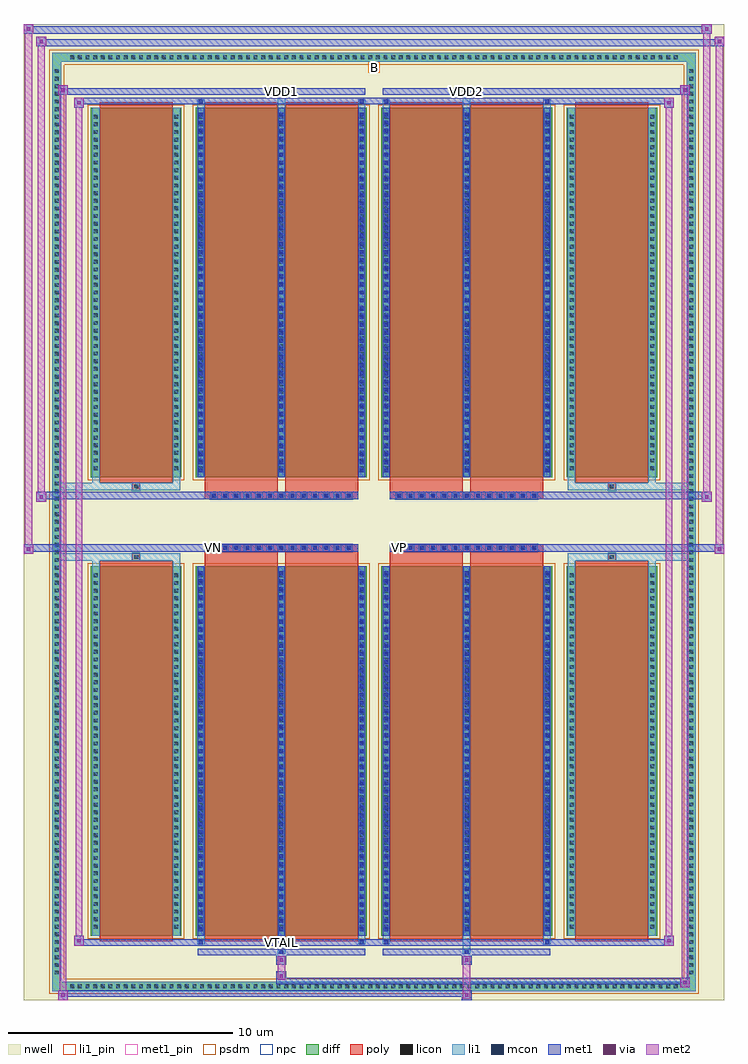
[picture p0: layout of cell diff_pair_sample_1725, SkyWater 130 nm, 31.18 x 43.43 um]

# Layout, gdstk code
import gdstk
lib = gdstk.Library(unit=1e-6, precision=5e-09)
def R(c, l, rs):  # rectangles x0, y0, x1, y1
    for r in rs: c.add(gdstk.rectangle(r[:2], r[2:], *l))
def A(c, l, x, y, w, h, nx, ny, dx, dy):  # array of equal rectangles
    R(c, l, [(x+i*dx, y+j*dy, x+i*dx+w, y+j*dy+h) for i in range(nx) for j in range(ny)])
def P(c, l, *ps):  # polygons
    for p in ps: c.add(gdstk.Polygon(p, *l))
nwell = (64, 20)
diff = (65, 20)
poly = (66, 20)
licon = (66, 44)
li1_pin = (67, 16)
li1 = (67, 20)
mcon = (67, 44)
met1_pin = (68, 16)
met1 = (68, 20)
via = (68, 44)
met2 = (69, 20)
psdm = (94, 20)
npc = (95, 20)

diff_pair_sample_1725 = lib.new_cell('diff_pair_sample_1725')
R(diff_pair_sample_1725, nwell, [(-15.59,-21.28,15.59,22.15), (-12.91,-19.47,-0.01,-0.795), (0.01,-19.47,12.91,-0.795), (-12.91,0.795,-0.01,19.47), (0.01,0.795,12.91,19.47)])
A(diff_pair_sample_1725, diff, -13.635, -20.88, 0.41, 0.41, 80, 2, 0.34, 41.35)
A(diff_pair_sample_1725, diff, -14.32, -20.265, 0.41, 0.41, 1, 119, 0, 0.34)
A(diff_pair_sample_1725, diff, 13.91, -20.265, 0.41, 0.41, 1, 119, 0, 0.34)
R(diff_pair_sample_1725, diff, [(-13.635,-20.88,13.635,-20.47), (-14.32,-20.265,-13.91,20.265), (13.91,-20.265,14.32,20.265), (-12.6,-18.425,-8.57,-1.985), (-7.93,-18.425,-0.32,-1.985), (0.32,-18.425,7.93,-1.985), (8.57,-18.425,12.6,-1.985), (-12.6,1.985,-8.57,18.425), (-7.93,1.985,-0.32,18.425), (0.32,1.985,7.93,18.425), (8.57,1.985,12.6,18.425), (-13.635,20.47,13.635,20.88)])
P(diff_pair_sample_1725, diff, [(14.32,20.88),(-14.32,20.88),(-14.32,-20.47),(-13.91,-20.47),(-13.91,20.47),(13.91,20.47),(13.91,-20.47),(-13.91,-20.47),(-14.32,-20.47),(-14.32,-20.88),(14.32,-20.88)])
A(diff_pair_sample_1725, poly, -7.29, -1.325, 0.33, 0.33, 13, 2, 0.5, 2.32)
A(diff_pair_sample_1725, poly, 0.96, -1.325, 0.33, 0.33, 13, 2, 0.5, 2.32)
R(diff_pair_sample_1725, poly, [(-12.21,-18.675,-8.96,-1.735), (-7.54,-18.675,-4.29,-1.735), (-3.96,-18.675,-0.71,-1.735), (0.71,-18.675,3.96,-1.735), (4.29,-18.675,7.54,-1.735), (8.96,-18.675,12.21,-1.735), (-10.75,-1.735,-10.42,-1.405), (-10.75,-1.735,-10.42,-1.405), (-7.54,-1.735,-4.29,-1.325), (-3.96,-1.735,-0.71,-1.325), (0.71,-1.735,3.96,-1.325), (4.29,-1.735,7.54,-1.325), (10.42,-1.735,10.75,-1.405), (10.42,-1.735,10.75,-1.405), (-7.54,-1.325,-0.71,-0.995), (0.71,-1.325,7.54,-0.995), (-7.54,0.995,-0.71,1.325), (0.71,0.995,7.54,1.325), (-7.54,1.325,-4.29,1.735), (-3.96,1.325,-0.71,1.735), (0.71,1.325,3.96,1.735), (4.29,1.325,7.54,1.735), (-10.75,1.405,-10.42,1.735), (-10.75,1.405,-10.42,1.735), (10.42,1.405,10.75,1.735), (10.42,1.405,10.75,1.735), (-12.21,1.735,-8.96,18.675), (-7.54,1.735,-4.29,18.675), (-3.96,1.735,-0.71,18.675), (0.71,1.735,3.96,18.675), (4.29,1.735,7.54,18.675), (8.96,1.735,12.21,18.675)])
A(diff_pair_sample_1725, licon, -13.515, -20.76, 0.17, 0.17, 80, 2, 0.34, 41.35)
A(diff_pair_sample_1725, licon, -14.2, -20.145, 0.17, 0.17, 1, 119, 0, 0.34)
A(diff_pair_sample_1725, licon, 14.03, -20.145, 0.17, 0.17, 1, 119, 0, 0.34)
A(diff_pair_sample_1725, licon, -12.46, -18.11, 0.17, 0.17, 1, 47, 0, 0.34)
A(diff_pair_sample_1725, licon, -8.88, -18.11, 0.17, 0.17, 1, 47, 0, 0.34)
A(diff_pair_sample_1725, licon, -7.79, -18.11, 0.17, 0.17, 3, 47, 3.58, 0.34)
A(diff_pair_sample_1725, licon, 0.46, -18.11, 0.17, 0.17, 3, 47, 3.58, 0.34)
A(diff_pair_sample_1725, licon, 8.71, -18.11, 0.17, 0.17, 1, 47, 0, 0.34)
A(diff_pair_sample_1725, licon, 12.29, -18.11, 0.17, 0.17, 1, 47, 0, 0.34)
A(diff_pair_sample_1725, licon, -7.21, -1.245, 0.17, 0.17, 13, 2, 0.5, 2.32)
A(diff_pair_sample_1725, licon, 1.04, -1.245, 0.17, 0.17, 13, 2, 0.5, 2.32)
A(diff_pair_sample_1725, licon, -12.46, 2.3, 0.17, 0.17, 1, 47, 0, 0.34)
A(diff_pair_sample_1725, licon, -8.88, 2.3, 0.17, 0.17, 1, 47, 0, 0.34)
A(diff_pair_sample_1725, licon, -7.79, 2.3, 0.17, 0.17, 3, 47, 3.58, 0.34)
A(diff_pair_sample_1725, licon, 0.46, 2.3, 0.17, 0.17, 3, 47, 3.58, 0.34)
A(diff_pair_sample_1725, licon, 8.71, 2.3, 0.17, 0.17, 1, 47, 0, 0.34)
A(diff_pair_sample_1725, licon, 12.29, 2.3, 0.17, 0.17, 1, 47, 0, 0.34)
R(diff_pair_sample_1725, licon, [(-10.67,-1.655,-10.5,-1.485), (10.5,-1.655,10.67,-1.485), (-10.67,1.485,-10.5,1.655), (10.5,1.485,10.67,1.655)])
R(diff_pair_sample_1725, li1_pin, [(-0.25,19.97,0.25,20.47)])
A(diff_pair_sample_1725, li1, -13.595, -20.84, 0.33, 0.33, 80, 2, 0.34, 41.35)
A(diff_pair_sample_1725, li1, -14.28, -20.225, 0.33, 0.33, 1, 119, 0, 0.34)
A(diff_pair_sample_1725, li1, 13.95, -20.225, 0.33, 0.33, 1, 119, 0, 0.34)
A(diff_pair_sample_1725, li1, -7.87, -18.425, 0.33, 16.44, 3, 2, 3.58, 20.41)
A(diff_pair_sample_1725, li1, 0.38, -18.425, 0.33, 16.44, 3, 2, 3.58, 20.41)
A(diff_pair_sample_1725, li1, -7.79, -18.21, 0.17, 0.17, 3, 45, 3.58, 0.36)
A(diff_pair_sample_1725, li1, -7.79, -18.21, 0.17, 16.01, 3, 2, 3.58, 20.41)
A(diff_pair_sample_1725, li1, 0.46, -18.21, 0.17, 0.17, 3, 45, 3.58, 0.36)
A(diff_pair_sample_1725, li1, 0.46, -18.21, 0.17, 16.01, 3, 2, 3.58, 20.41)
A(diff_pair_sample_1725, li1, -12.54, -18.19, 0.33, 0.33, 1, 47, 0, 0.34)
A(diff_pair_sample_1725, li1, -8.96, -18.19, 0.33, 0.33, 1, 47, 0, 0.34)
A(diff_pair_sample_1725, li1, -7.87, -18.19, 0.33, 0.33, 3, 47, 3.58, 0.34)
A(diff_pair_sample_1725, li1, 0.38, -18.19, 0.33, 0.33, 3, 47, 3.58, 0.34)
A(diff_pair_sample_1725, li1, 8.63, -18.19, 0.33, 0.33, 1, 47, 0, 0.34)
A(diff_pair_sample_1725, li1, 12.21, -18.19, 0.33, 0.33, 1, 47, 0, 0.34)
A(diff_pair_sample_1725, li1, -7.29, -1.325, 0.33, 0.33, 13, 2, 0.5, 2.32)
A(diff_pair_sample_1725, li1, 0.96, -1.325, 0.33, 0.33, 13, 2, 0.5, 2.32)
A(diff_pair_sample_1725, li1, -7.79, 2.2, 0.17, 0.17, 3, 45, 3.58, 0.36)
A(diff_pair_sample_1725, li1, 0.46, 2.2, 0.17, 0.17, 3, 45, 3.58, 0.36)
A(diff_pair_sample_1725, li1, -12.54, 2.22, 0.33, 0.33, 1, 47, 0, 0.34)
A(diff_pair_sample_1725, li1, -8.96, 2.22, 0.33, 0.33, 1, 47, 0, 0.34)
A(diff_pair_sample_1725, li1, -7.87, 2.22, 0.33, 0.33, 3, 47, 3.58, 0.34)
A(diff_pair_sample_1725, li1, 0.38, 2.22, 0.33, 0.33, 3, 47, 3.58, 0.34)
A(diff_pair_sample_1725, li1, 8.63, 2.22, 0.33, 0.33, 1, 47, 0, 0.34)
A(diff_pair_sample_1725, li1, 12.21, 2.22, 0.33, 0.33, 1, 47, 0, 0.34)
R(diff_pair_sample_1725, li1, [(-14.32,-20.88,-13.91,-20.47), (-14.32,-20.88,-13.91,-20.47), (-13.91,-20.88,13.91,-20.47), (13.91,-20.88,14.32,-20.47), (13.91,-20.88,14.32,-20.47), (-14.32,-20.47,-13.91,20.47), (13.91,-20.47,14.32,20.47), (-4.29,-19.23,-3.96,-18.425), (-4.21,-19.23,-4.04,-19.06), (3.96,-19.23,4.29,-18.425), (4.04,-19.23,4.21,-19.06), (-7.87,-18.8,-7.54,-18.425), (-7.79,-18.8,-7.62,-18.63), (-0.71,-18.8,-0.38,-18.425), (-0.63,-18.8,-0.46,-18.63), (0.38,-18.8,0.71,-18.425), (0.46,-18.8,0.63,-18.63), (7.54,-18.8,7.87,-18.425), (7.62,-18.8,7.79,-18.63), (-12.54,-18.425,-12.21,-1.985), (-8.96,-18.425,-8.63,-1.985), (8.63,-18.425,8.96,-1.985), (12.21,-18.425,12.54,-1.985), (-12.54,-1.985,-12.21,-1.405), (-8.96,-1.985,-8.63,-1.405), (8.63,-1.985,8.96,-1.405), (12.21,-1.985,12.54,-1.405), (-14.32,-1.735,-10.75,-1.405), (-12.54,-1.735,-10.75,-1.405), (-10.75,-1.735,-10.42,-1.405), (-10.42,-1.735,-8.63,-1.405), (8.63,-1.735,10.42,-1.405), (10.42,-1.735,10.75,-1.405), (10.42,-1.735,14.32,-1.405), (10.75,-1.735,12.54,-1.405), (-14.32,1.405,-10.75,1.735), (-12.54,1.405,-10.75,1.735), (-12.54,1.405,-12.21,1.985), (-10.75,1.405,-10.42,1.735), (-10.42,1.405,-8.63,1.735), (-8.96,1.405,-8.63,1.985), (8.63,1.405,10.42,1.735), (8.63,1.405,8.96,1.985), (10.42,1.405,10.75,1.735), (10.42,1.405,14.32,1.735), (10.75,1.405,12.54,1.735), (12.21,1.405,12.54,1.985), (-12.54,1.985,-12.21,18.425), (-8.96,1.985,-8.63,18.425), (8.63,1.985,8.96,18.425), (12.21,1.985,12.54,18.425), (-7.87,18.425,-7.54,18.8), (-4.29,18.425,-3.96,19.23), (-0.71,18.425,-0.38,18.8), (0.38,18.425,0.71,18.8), (3.96,18.425,4.29,19.23), (7.54,18.425,7.87,18.8), (-7.79,18.63,-7.62,18.8), (-0.63,18.63,-0.46,18.8), (0.46,18.63,0.63,18.8), (7.62,18.63,7.79,18.8), (-4.21,19.06,-4.04,19.23), (4.04,19.06,4.21,19.23), (-14.32,20.47,-13.91,20.88), (-14.32,20.47,-13.91,20.88), (-13.91,20.47,13.91,20.88), (13.91,20.47,14.32,20.88), (13.91,20.47,14.32,20.88)])
A(diff_pair_sample_1725, mcon, -7.79, -18.21, 0.17, 0.17, 3, 45, 3.58, 0.36)
A(diff_pair_sample_1725, mcon, 0.46, -18.21, 0.17, 0.17, 3, 45, 3.58, 0.36)
A(diff_pair_sample_1725, mcon, -7.21, -1.245, 0.17, 0.17, 13, 2, 0.5, 2.32)
A(diff_pair_sample_1725, mcon, 1.04, -1.245, 0.17, 0.17, 13, 2, 0.5, 2.32)
A(diff_pair_sample_1725, mcon, -7.79, 2.2, 0.17, 0.17, 3, 45, 3.58, 0.36)
A(diff_pair_sample_1725, mcon, 0.46, 2.2, 0.17, 0.17, 3, 45, 3.58, 0.36)
R(diff_pair_sample_1725, mcon, [(-4.21,-19.23,-4.04,-19.06), (4.04,-19.23,4.21,-19.06), (-7.79,-18.8,-7.62,-18.63), (-0.63,-18.8,-0.46,-18.63), (0.46,-18.8,0.63,-18.63), (7.62,-18.8,7.79,-18.63), (-7.79,18.63,-7.62,18.8), (-0.63,18.63,-0.46,18.8), (0.46,18.63,0.63,18.8), (7.62,18.63,7.79,18.8), (-4.21,19.06,-4.04,19.23), (4.04,19.06,4.21,19.23)])
R(diff_pair_sample_1725, met1_pin, [(-4.26,-18.84,-3.99,-18.57), (-7.26,-1.285,-6.99,-1.015), (0.99,-1.285,1.26,-1.015), (-4.26,19.02,-3.99,19.29), (3.99,19.02,4.26,19.29)])
A(diff_pair_sample_1725, met1, -7.85, -18.425, 0.29, 16.44, 3, 2, 3.58, 20.41)
A(diff_pair_sample_1725, met1, 0.4, -18.425, 0.29, 16.44, 3, 2, 3.58, 20.41)
A(diff_pair_sample_1725, met1, -7.85, -18.27, 0.29, 0.29, 3, 45, 3.58, 0.36)
A(diff_pair_sample_1725, met1, 0.4, -18.27, 0.29, 0.29, 3, 45, 3.58, 0.36)
A(diff_pair_sample_1725, met1, -7.27, -1.305, 0.29, 0.29, 13, 2, 0.5, 2.32)
A(diff_pair_sample_1725, met1, 0.98, -1.305, 0.29, 0.29, 13, 2, 0.5, 2.32)
A(diff_pair_sample_1725, met1, -7.85, 2.14, 0.29, 0.29, 3, 45, 3.58, 0.36)
A(diff_pair_sample_1725, met1, 0.4, 2.14, 0.29, 0.29, 3, 45, 3.58, 0.36)
R(diff_pair_sample_1725, met1, [(-14.05,-21.28,-13.62,-20.85), (3.91,-21.28,4.34,-20.85), (-14.05,-21.14,4.34,-20.85), (13.62,-20.71,14.05,-20.28), (-4.34,-20.57,14.05,-20.28), (-4.34,-20.43,-3.91,-20), (-4.34,-19.72,-3.91,-19.29), (3.91,-19.72,4.34,-19.29), (-7.85,-19.29,-0.4,-19), (-4.27,-19.29,-3.98,-19), (0.4,-19.29,7.85,-19), (3.98,-19.29,4.27,-19), (-13.34,-18.86,-12.91,-18.43), (-13.34,-18.86,-7.85,-18.57), (-7.85,-18.86,-7.56,-18.57), (-7.85,-18.86,-0.4,-18.57), (-0.69,-18.86,-0.4,-18.57), (-0.4,-18.86,0.4,-18.57), (0.4,-18.86,0.69,-18.57), (0.4,-18.86,7.85,-18.57), (7.56,-18.86,7.85,-18.57), (7.85,-18.86,13.34,-18.57), (12.91,-18.86,13.34,-18.43), (-15.59,-1.425,-15.16,-0.995), (15.16,-1.425,15.59,-0.995), (-15.59,-1.325,-0.71,-0.995), (-7.54,-1.325,-0.71,-0.995), (0.71,-1.325,7.54,-0.995), (0.71,-1.325,15.59,-0.995), (-15.02,0.895,-14.59,1.325), (14.59,0.895,15.02,1.325), (-15.02,0.995,-7.54,1.325), (-7.54,0.995,-0.71,1.325), (0.71,0.995,7.54,1.325), (7.54,0.995,15.02,1.325), (-13.34,18.43,-12.91,18.86), (12.91,18.43,13.34,18.86), (-13.34,18.57,-7.85,18.86), (-7.85,18.57,-7.56,18.86), (-7.85,18.57,-0.4,18.86), (-0.69,18.57,-0.4,18.86), (-0.4,18.57,0.4,18.86), (0.4,18.57,0.69,18.86), (0.4,18.57,7.85,18.86), (7.56,18.57,7.85,18.86), (7.85,18.57,13.34,18.86), (-14.05,19,-13.62,19.43), (-14.05,19,-7.85,19.29), (-7.85,19,-0.4,19.29), (-4.27,19,-3.98,19.29), (0.4,19,7.85,19.29), (3.98,19,4.27,19.29), (7.85,19,14.05,19.29), (13.62,19,14.05,19.43), (-15.02,21.15,-14.59,21.58), (-15.02,21.15,-12.91,21.48), (-12.91,21.15,12.91,21.48), (12.91,21.15,15.59,21.48), (15.16,21.15,15.59,21.58), (-15.59,21.72,-15.16,22.15), (-15.59,21.72,-12.91,22.05), (-12.91,21.72,12.91,22.05), (12.91,21.72,15.02,22.05), (14.59,21.72,15.02,22.15)])
R(diff_pair_sample_1725, via, [(-13.91,-21.14,-13.76,-20.99), (4.05,-21.14,4.2,-20.99), (13.76,-20.57,13.91,-20.42), (-4.2,-20.29,-4.05,-20.14), (-4.2,-19.58,-4.05,-19.43), (4.05,-19.58,4.2,-19.43), (-13.2,-18.72,-13.05,-18.57), (13.05,-18.72,13.2,-18.57), (-15.45,-1.285,-15.3,-1.135), (15.3,-1.285,15.45,-1.135), (-14.88,1.035,-14.73,1.185), (14.73,1.035,14.88,1.185), (-13.2,18.57,-13.05,18.72), (13.05,18.57,13.2,18.72), (-13.91,19.14,-13.76,19.29), (13.76,19.14,13.91,19.29), (-14.88,21.29,-14.73,21.44), (15.3,21.29,15.45,21.44), (-15.45,21.86,-15.3,22.01), (14.73,21.86,14.88,22.01)])
R(diff_pair_sample_1725, met2, [(-14.05,-21.28,-13.62,-20.85), (-13.98,-21.28,-13.69,19.43), (-13.69,-21.28,-13.62,-20.85), (-14,-21.23,-13.67,-20.9), (3.96,-21.23,4.29,-20.9), (3.96,-20.9,4.29,-19.67), (13.62,-20.71,14.05,-20.28), (13.69,-20.71,13.98,19.43), (13.98,-20.71,14.05,-20.28), (13.67,-20.66,14,-20.33), (-4.29,-20.38,-3.96,-20.05), (-4.29,-20.05,-3.96,-19.67), (-4.29,-19.67,-3.96,-19.34), (3.96,-19.67,4.29,-19.34), (-13.34,-18.86,-12.91,-18.43), (-13.27,-18.86,-12.98,18.86), (-12.98,-18.86,-12.91,-18.43), (12.91,-18.86,13.34,-18.43), (12.98,-18.86,13.27,18.86), (13.27,-18.86,13.34,-18.43), (-13.29,-18.81,-12.96,-18.48), (12.96,-18.81,13.29,-18.48), (-15.59,-1.425,-15.16,-0.995), (-15.54,-1.425,-15.21,22.15), (-15.21,-1.425,-15.16,-0.995), (15.16,-1.425,15.59,-0.995), (15.21,-1.425,15.54,21.58), (15.54,-1.425,15.59,-0.995), (-15.54,-1.375,-15.21,-1.045), (15.21,-1.375,15.54,-1.045), (-15.02,0.895,-14.59,1.325), (-14.97,0.895,-14.64,21.58), (-14.64,0.895,-14.59,1.325), (14.59,0.895,15.02,1.325), (14.64,0.895,14.97,22.15), (14.97,0.895,15.02,1.325), (-14.97,0.945,-14.64,1.275), (14.64,0.945,14.97,1.275), (-13.34,18.43,-12.91,18.86), (-12.98,18.43,-12.91,18.86), (12.91,18.43,13.34,18.86), (13.27,18.43,13.34,18.86), (-13.29,18.48,-12.96,18.81), (12.96,18.48,13.29,18.81), (-14.05,19,-13.62,19.43), (-13.69,19,-13.62,19.43), (13.62,19,14.05,19.43), (13.98,19,14.05,19.43), (-14,19.05,-13.67,19.38), (13.67,19.05,14,19.38), (-15.02,21.15,-14.59,21.58), (-14.64,21.15,-14.59,21.58), (15.16,21.15,15.59,21.58), (15.54,21.15,15.59,21.58), (-14.97,21.2,-14.64,21.53), (15.21,21.2,15.54,21.53), (-15.59,21.72,-15.16,22.15), (-15.21,21.72,-15.16,22.15), (14.59,21.72,15.02,22.15), (14.97,21.72,15.02,22.15), (-15.54,21.77,-15.21,22.1), (14.64,21.77,14.97,22.1)])
R(diff_pair_sample_1725, psdm, [(-12.73,-18.555,-8.44,-1.855), (-8.06,-18.555,-0.19,-1.855), (0.19,-18.555,8.06,-1.855), (8.44,-18.555,12.73,-1.855), (-12.73,1.855,-8.44,18.555), (-8.06,1.855,-0.19,18.555), (0.19,1.855,8.06,18.555), (8.44,1.855,12.73,18.555)])
P(diff_pair_sample_1725, psdm, [(14.45,21.01),(-14.45,21.01),(-14.45,-20.34),(-13.78,-20.34),(-13.78,20.34),(13.78,20.34),(13.78,-20.34),(-13.78,-20.34),(-14.45,-20.34),(-14.45,-21.01),(14.45,-21.01)])
A(diff_pair_sample_1725, npc, -7.31, -1.345, 0.37, 0.37, 13, 2, 0.5, 2.32)
A(diff_pair_sample_1725, npc, 0.94, -1.345, 0.37, 0.37, 13, 2, 0.5, 2.32)
R(diff_pair_sample_1725, npc, [(-10.77,-1.755,-10.4,-1.385), (10.4,-1.755,10.77,-1.385), (-7.31,-1.345,-6.44,-0.975), (-7.31,-1.345,-6.44,-0.975), (-6.81,-1.345,-5.94,-0.975), (-6.81,-1.345,-5.94,-0.975), (-6.31,-1.345,-5.44,-0.975), (-6.31,-1.345,-5.44,-0.975), (-5.81,-1.345,-4.94,-0.975), (-5.81,-1.345,-4.94,-0.975), (-5.31,-1.345,-4.44,-0.975), (-5.31,-1.345,-4.44,-0.975), (-4.81,-1.345,-3.94,-0.975), (-4.81,-1.345,-3.94,-0.975), (-4.31,-1.345,-3.44,-0.975), (-4.31,-1.345,-3.44,-0.975), (-3.81,-1.345,-2.94,-0.975), (-3.81,-1.345,-2.94,-0.975), (-3.31,-1.345,-2.44,-0.975), (-3.31,-1.345,-2.44,-0.975), (-2.81,-1.345,-1.94,-0.975), (-2.81,-1.345,-1.94,-0.975), (-2.31,-1.345,-1.44,-0.975), (-2.31,-1.345,-1.44,-0.975), (-1.81,-1.345,-0.94,-0.975), (-1.81,-1.345,-0.94,-0.975), (0.94,-1.345,1.81,-0.975), (0.94,-1.345,1.81,-0.975), (1.44,-1.345,2.31,-0.975), (1.44,-1.345,2.31,-0.975), (1.94,-1.345,2.81,-0.975), (1.94,-1.345,2.81,-0.975), (2.44,-1.345,3.31,-0.975), (2.44,-1.345,3.31,-0.975), (2.94,-1.345,3.81,-0.975), (2.94,-1.345,3.81,-0.975), (3.44,-1.345,4.31,-0.975), (3.44,-1.345,4.31,-0.975), (3.94,-1.345,4.81,-0.975), (3.94,-1.345,4.81,-0.975), (4.44,-1.345,5.31,-0.975), (4.44,-1.345,5.31,-0.975), (4.94,-1.345,5.81,-0.975), (4.94,-1.345,5.81,-0.975), (5.44,-1.345,6.31,-0.975), (5.44,-1.345,6.31,-0.975), (5.94,-1.345,6.81,-0.975), (5.94,-1.345,6.81,-0.975), (6.44,-1.345,7.31,-0.975), (6.44,-1.345,7.31,-0.975), (-7.31,0.975,-6.44,1.345), (-7.31,0.975,-6.44,1.345), (-6.81,0.975,-5.94,1.345), (-6.81,0.975,-5.94,1.345), (-6.31,0.975,-5.44,1.345), (-6.31,0.975,-5.44,1.345), (-5.81,0.975,-4.94,1.345), (-5.81,0.975,-4.94,1.345), (-5.31,0.975,-4.44,1.345), (-5.31,0.975,-4.44,1.345), (-4.81,0.975,-3.94,1.345), (-4.81,0.975,-3.94,1.345), (-4.31,0.975,-3.44,1.345), (-4.31,0.975,-3.44,1.345), (-3.81,0.975,-2.94,1.345), (-3.81,0.975,-2.94,1.345), (-3.31,0.975,-2.44,1.345), (-3.31,0.975,-2.44,1.345), (-2.81,0.975,-1.94,1.345), (-2.81,0.975,-1.94,1.345), (-2.31,0.975,-1.44,1.345), (-2.31,0.975,-1.44,1.345), (-1.81,0.975,-0.94,1.345), (-1.81,0.975,-0.94,1.345), (0.94,0.975,1.81,1.345), (0.94,0.975,1.81,1.345), (1.44,0.975,2.31,1.345), (1.44,0.975,2.31,1.345), (1.94,0.975,2.81,1.345), (1.94,0.975,2.81,1.345), (2.44,0.975,3.31,1.345), (2.44,0.975,3.31,1.345), (2.94,0.975,3.81,1.345), (2.94,0.975,3.81,1.345), (3.44,0.975,4.31,1.345), (3.44,0.975,4.31,1.345), (3.94,0.975,4.81,1.345), (3.94,0.975,4.81,1.345), (4.44,0.975,5.31,1.345), (4.44,0.975,5.31,1.345), (4.94,0.975,5.81,1.345), (4.94,0.975,5.81,1.345), (5.44,0.975,6.31,1.345), (5.44,0.975,6.31,1.345), (5.94,0.975,6.81,1.345), (5.94,0.975,6.81,1.345), (6.44,0.975,7.31,1.345), (6.44,0.975,7.31,1.345), (-10.77,1.385,-10.4,1.755), (10.4,1.385,10.77,1.755)])
diff_pair_sample_1725.add(gdstk.Label('VTAIL', (-4.125,-18.705), layer=68, texttype=5))
diff_pair_sample_1725.add(gdstk.Label('VN', (-7.125,-1.15), layer=68, texttype=5))
diff_pair_sample_1725.add(gdstk.Label('VP', (1.125,-1.15), layer=68, texttype=5))
diff_pair_sample_1725.add(gdstk.Label('B', (0,20.22), layer=67, texttype=5))
diff_pair_sample_1725.add(gdstk.Label('VDD2', (4.125,19.155), layer=68, texttype=5))
diff_pair_sample_1725.add(gdstk.Label('VDD1', (-4.125,19.155), layer=68, texttype=5))

lib.write_gds('diff_pair_sample_1725.gds')
